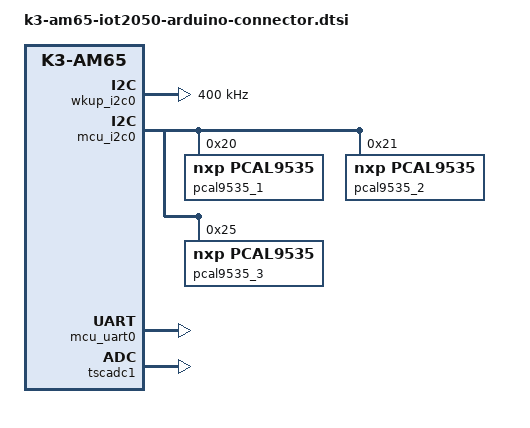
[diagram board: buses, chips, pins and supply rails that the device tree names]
// SPDX-License-Identifier: GPL-2.0-only
/*
 * Copyright (c) Siemens AG, 2018-2023
 *
 * Authors:
 *   Le Jin <le.jin@siemens.com>
 *   Jan Kiszka <jan.kiszka@siemens.com>
 *
 * Common bits for IOT2050 variants with Arduino connector
 */

&wkup_pmx0 {
	pinctrl-names =
		"default",
		"d0-uart0-rxd",  "d0-gpio",  "d0-gpio-pullup",  "d0-gpio-pulldown",
		"d1-uart0-txd",  "d1-gpio",  "d1-gpio-pullup",  "d1-gpio-pulldown",
		"d2-uart0-ctsn", "d2-gpio",  "d2-gpio-pullup",  "d2-gpio-pulldown",
		"d3-uart0-rtsn", "d3-gpio",  "d3-gpio-pullup",  "d3-gpio-pulldown",
		"d10-spi0-cs0",  "d10-gpio", "d10-gpio-pullup", "d10-gpio-pulldown",
		"d11-spi0-d0",   "d11-gpio", "d11-gpio-pullup", "d11-gpio-pulldown",
		"d12-spi0-d1",   "d12-gpio", "d12-gpio-pullup", "d12-gpio-pulldown",
		"d13-spi0-clk",  "d13-gpio", "d13-gpio-pullup", "d13-gpio-pulldown",
		"a0-gpio", "a0-gpio-pullup", "a0-gpio-pulldown",
		"a1-gpio", "a1-gpio-pullup", "a1-gpio-pulldown",
		"a2-gpio", "a2-gpio-pullup", "a2-gpio-pulldown",
		"a3-gpio", "a3-gpio-pullup", "a3-gpio-pulldown",
		"a4-gpio", "a4-gpio-pullup", "a4-gpio-pulldown",
		"a5-gpio", "a5-gpio-pullup", "a5-gpio-pulldown";

	pinctrl-0 = <&d0_uart0_rxd>;
	pinctrl-1 = <&d0_uart0_rxd>;
	pinctrl-2 = <&d0_gpio>;
	pinctrl-3 = <&d0_gpio_pullup>;
	pinctrl-4 = <&d0_gpio_pulldown>;
	pinctrl-5 = <&d1_uart0_txd>;
	pinctrl-6 = <&d1_gpio>;
	pinctrl-7 = <&d1_gpio_pullup>;
	pinctrl-8 = <&d1_gpio_pulldown>;
	pinctrl-9 = <&d2_uart0_ctsn>;
	pinctrl-10 = <&d2_gpio>;
	pinctrl-11 = <&d2_gpio_pullup>;
	pinctrl-12 = <&d2_gpio_pulldown>;
	pinctrl-13 = <&d3_uart0_rtsn>;
	pinctrl-14 = <&d3_gpio>;
	pinctrl-15 = <&d3_gpio_pullup>;
	pinctrl-16 = <&d3_gpio_pulldown>;
	pinctrl-17 = <&d10_spi0_cs0>;
	pinctrl-18 = <&d10_gpio>;
	pinctrl-19 = <&d10_gpio_pullup>;
	pinctrl-20 = <&d10_gpio_pulldown>;
	pinctrl-21 = <&d11_spi0_d0>;
	pinctrl-22 = <&d11_gpio>;
	pinctrl-23 = <&d11_gpio_pullup>;
	pinctrl-24 = <&d11_gpio_pulldown>;
	pinctrl-25 = <&d12_spi0_d1>;
	pinctrl-26 = <&d12_gpio>;
	pinctrl-27 = <&d12_gpio_pullup>;
	pinctrl-28 = <&d12_gpio_pulldown>;
	pinctrl-29 = <&d13_spi0_clk>;
	pinctrl-30 = <&d13_gpio>;
	pinctrl-31 = <&d13_gpio_pullup>;
	pinctrl-32 = <&d13_gpio_pulldown>;
	pinctrl-33 = <&a0_gpio>;
	pinctrl-34 = <&a0_gpio_pullup>;
	pinctrl-35 = <&a0_gpio_pulldown>;
	pinctrl-36 = <&a1_gpio>;
	pinctrl-37 = <&a1_gpio_pullup>;
	pinctrl-38 = <&a1_gpio_pulldown>;
	pinctrl-39 = <&a2_gpio>;
	pinctrl-40 = <&a2_gpio_pullup>;
	pinctrl-41 = <&a2_gpio_pulldown>;
	pinctrl-42 = <&a3_gpio>;
	pinctrl-43 = <&a3_gpio_pullup>;
	pinctrl-44 = <&a3_gpio_pulldown>;
	pinctrl-45 = <&a4_gpio>;
	pinctrl-46 = <&a4_gpio_pullup>;
	pinctrl-47 = <&a4_gpio_pulldown>;
	pinctrl-48 = <&a5_gpio>;
	pinctrl-49 = <&a5_gpio_pullup>;
	pinctrl-50 = <&a5_gpio_pulldown>;

	d0_uart0_rxd: d0-uart0-rxd-pins {
		pinctrl-single,pins = <
			/* (P4) MCU_UART0_RXD */
			AM65X_WKUP_IOPAD(0x0044, PIN_INPUT, 4)
		>;
	};

	d0_gpio: d0-gpio-pins {
		pinctrl-single,pins = <
			/* (P4) WKUP_GPIO0_29 */
			AM65X_WKUP_IOPAD(0x0044, PIN_INPUT, 7)
		>;
	};

	d0_gpio_pullup: d0-gpio-pullup-pins {
		pinctrl-single,pins = <
			/* (P4) WKUP_GPIO0_29 */
			AM65X_WKUP_IOPAD(0x0044, PIN_INPUT_PULLUP, 7)
		>;
	};

	d0_gpio_pulldown: d0-gpio-pulldown-pins {
		pinctrl-single,pins = <
			/* (P4) WKUP_GPIO0_29 */
			AM65X_WKUP_IOPAD(0x0044, PIN_INPUT_PULLDOWN, 7)
		>;
	};

	d1_uart0_txd: d1-uart0-txd-pins {
		pinctrl-single,pins = <
			/* (P5) MCU_UART0_TXD */
			AM65X_WKUP_IOPAD(0x0048, PIN_OUTPUT, 4)
		>;
	};

	d1_gpio: d1-gpio-pins {
		pinctrl-single,pins = <
			/* (P5) WKUP_GPIO0_30 */
			AM65X_WKUP_IOPAD(0x0048, PIN_INPUT, 7)
		>;
	};

	d1_gpio_pullup: d1-gpio-pullup-pins {
		pinctrl-single,pins = <
			/* (P5) WKUP_GPIO0_30 */
			AM65X_WKUP_IOPAD(0x0048, PIN_INPUT, 7)
		>;
	};

	d1_gpio_pulldown: d1-gpio-pulldown-pins {
		pinctrl-single,pins = <
			/* (P5) WKUP_GPIO0_30 */
			AM65X_WKUP_IOPAD(0x0048, PIN_INPUT_PULLDOWN, 7)
		>;
	};

	d2_uart0_ctsn: d2-uart0-ctsn-pins {
		pinctrl-single,pins = <
			/* (P1) MCU_UART0_CTSn */
			AM65X_WKUP_IOPAD(0x004C, PIN_INPUT, 4)
		>;
	};

	d2_gpio: d2-gpio-pins {
		pinctrl-single,pins = <
			/* (P5) WKUP_GPIO0_31 */
			AM65X_WKUP_IOPAD(0x004C, PIN_INPUT, 7)
		>;
	};

	d2_gpio_pullup: d2-gpio-pullup-pins {
		pinctrl-single,pins = <
			/* (P5) WKUP_GPIO0_31 */
			AM65X_WKUP_IOPAD(0x004C, PIN_INPUT, 7)
		>;
	};

	d2_gpio_pulldown: d2-gpio-pulldown-pins {
		pinctrl-single,pins = <
			/* (P5) WKUP_GPIO0_31 */
			AM65X_WKUP_IOPAD(0x004C, PIN_INPUT_PULLDOWN, 7)
		>;
	};

	d3_uart0_rtsn: d3-uart0-rtsn-pins {
		pinctrl-single,pins = <
			/* (N3) MCU_UART0_RTSn */
			AM65X_WKUP_IOPAD(0x0054, PIN_OUTPUT, 4)
		>;
	};

	d3_gpio: d3-gpio-pins {
		pinctrl-single,pins = <
			/* (N3) WKUP_GPIO0_33 */
			AM65X_WKUP_IOPAD(0x0054, PIN_INPUT, 7)
		>;
	};

	d3_gpio_pullup: d3-gpio-pullup-pins {
		pinctrl-single,pins = <
			/* (N3) WKUP_GPIO0_33 */
			AM65X_WKUP_IOPAD(0x0054, PIN_INPUT, 7)
		>;
	};

	d3_gpio_pulldown: d3-gpio-pulldown-pins {
		pinctrl-single,pins = <
			/* (N3) WKUP_GPIO0_33 */
			AM65X_WKUP_IOPAD(0x0054, PIN_INPUT_PULLDOWN, 7)
		>;
	};

	d10_spi0_cs0: d10-spi0-cs0-pins {
		pinctrl-single,pins = <
			/* (Y4) MCU_SPI0_CS0 */
			AM65X_WKUP_IOPAD(0x009c, PIN_OUTPUT, 0)
		>;
	};

	d10_gpio: d10-gpio-pins {
		pinctrl-single,pins = <
			/* (Y4) WKUP_GPIO0_51 */
			AM65X_WKUP_IOPAD(0x009c, PIN_INPUT, 7)
		>;
	};

	d10_gpio_pullup: d10-gpio-pullup-pins {
		pinctrl-single,pins = <
			/* (Y4) WKUP_GPIO0_51 */
			AM65X_WKUP_IOPAD(0x009c, PIN_INPUT, 7)
		>;
	};

	d10_gpio_pulldown: d10-gpio-pulldown-pins {
		pinctrl-single,pins = <
			/* (Y4) WKUP_GPIO0_51 */
			AM65X_WKUP_IOPAD(0x009c, PIN_INPUT_PULLDOWN, 7)
		>;
	};

	d11_spi0_d0: d11-spi0-d0-pins {
		pinctrl-single,pins = <
			/* (Y3) MCU_SPI0_D0 */
			AM65X_WKUP_IOPAD(0x0094, PIN_INPUT, 0)
		>;
	};

	d11_gpio: d11-gpio-pins {
		pinctrl-single,pins = <
			/* (Y3) WKUP_GPIO0_49 */
			AM65X_WKUP_IOPAD(0x0094, PIN_INPUT, 7)
		>;
	};

	d11_gpio_pullup: d11-gpio-pullup-pins {
		pinctrl-single,pins = <
			/* (Y3) WKUP_GPIO0_49 */
			AM65X_WKUP_IOPAD(0x0094, PIN_INPUT, 7)
		>;
	};

	d11_gpio_pulldown: d11-gpio-pulldown-pins {
		pinctrl-single,pins = <
			/* (Y3) WKUP_GPIO0_49 */
			AM65X_WKUP_IOPAD(0x0094, PIN_INPUT_PULLDOWN, 7)
		>;
	};

	d12_spi0_d1: d12-spi0-d1-pins {
		pinctrl-single,pins = <
			/* (Y2) MCU_SPI0_D1 */
			AM65X_WKUP_IOPAD(0x0098, PIN_INPUT, 0)
		>;
	};

	d12_gpio: d12-gpio-pins {
		pinctrl-single,pins = <
			/* (Y2) WKUP_GPIO0_50 */
			AM65X_WKUP_IOPAD(0x0098, PIN_INPUT, 7)
		>;
	};

	d12_gpio_pullup: d12-gpio-pullup-pins {
		pinctrl-single,pins = <
			/* (Y2) WKUP_GPIO0_50 */
			AM65X_WKUP_IOPAD(0x0098, PIN_INPUT, 7)
		>;
	};

	d12_gpio_pulldown: d12-gpio-pulldown-pins {
		pinctrl-single,pins = <
			/* (Y2) WKUP_GPIO0_50 */
			AM65X_WKUP_IOPAD(0x0098, PIN_INPUT_PULLDOWN, 7)
		>;
	};

	d13_spi0_clk: d13-spi0-clk-pins {
		pinctrl-single,pins = <
			/* (Y1) MCU_SPI0_CLK */
			AM65X_WKUP_IOPAD(0x0090, PIN_INPUT, 0)
		>;
	};

	d13_gpio: d13-gpio-pins {
		pinctrl-single,pins = <
			/* (Y1) WKUP_GPIO0_48 */
			AM65X_WKUP_IOPAD(0x0090, PIN_INPUT, 7)
		>;
	};

	d13_gpio_pullup: d13-gpio-pullup-pins {
		pinctrl-single,pins = <
			/* (Y1) WKUP_GPIO0_48 */
			AM65X_WKUP_IOPAD(0x0090, PIN_INPUT, 7)
		>;
	};

	d13_gpio_pulldown: d13-gpio-pulldown-pins {
		pinctrl-single,pins = <
			/* (Y1) WKUP_GPIO0_48 */
			AM65X_WKUP_IOPAD(0x0090, PIN_INPUT_PULLDOWN, 7)
		>;
	};

	a0_gpio: a0-gpio-pins {
		pinctrl-single,pins = <
			/* (L6) WKUP_GPIO0_45 */
			AM65X_WKUP_IOPAD(0x0084, PIN_INPUT, 7)
		>;
	};

	a0_gpio_pullup: a0-gpio-pullup-pins {
		pinctrl-single,pins = <
			/* (L6) WKUP_GPIO0_45 */
			AM65X_WKUP_IOPAD(0x0084, PIN_INPUT, 7)
		>;
	};

	a0_gpio_pulldown: a0-gpio-pulldown-pins {
		pinctrl-single,pins = <
			/* (L6) WKUP_GPIO0_45 */
			AM65X_WKUP_IOPAD(0x0084, PIN_INPUT_PULLDOWN, 7)
		>;
	};

	a1_gpio: a1-gpio-pins {
		pinctrl-single,pins = <
			/* (M6) WKUP_GPIO0_44 */
			AM65X_WKUP_IOPAD(0x0080, PIN_INPUT, 7)
		>;
	};

	a1_gpio_pullup: a1-gpio-pullup-pins {
		pinctrl-single,pins = <
			/* (M6) WKUP_GPIO0_44 */
			AM65X_WKUP_IOPAD(0x0080, PIN_INPUT, 7)
		>;
	};

	a1_gpio_pulldown: a1-gpio-pulldown-pins {
		pinctrl-single,pins = <
			/* (M6) WKUP_GPIO0_44 */
			AM65X_WKUP_IOPAD(0x0080, PIN_INPUT_PULLDOWN, 7)
		>;
	};

	a2_gpio: a2-gpio-pins {
		pinctrl-single,pins = <
			/* (L5) WKUP_GPIO0_43 */
			AM65X_WKUP_IOPAD(0x007C, PIN_INPUT, 7)
		>;
	};

	a2_gpio_pullup: a2-gpio-pullup-pins {
		pinctrl-single,pins = <
			/* (L5) WKUP_GPIO0_43 */
			AM65X_WKUP_IOPAD(0x007C, PIN_INPUT, 7)
		>;
	};

	a2_gpio_pulldown: a2-gpio-pulldown-pins {
		pinctrl-single,pins = <
			/* (L5) WKUP_GPIO0_43 */
			AM65X_WKUP_IOPAD(0x007C, PIN_INPUT_PULLDOWN, 7)
		>;
	};

	a3_gpio: a3-gpio-pins {
		pinctrl-single,pins = <
			/* (M5) WKUP_GPIO0_39 */
			AM65X_WKUP_IOPAD(0x006C, PIN_INPUT, 7)
		>;
	};

	a3_gpio_pullup: a3-gpio-pullup-pins {
		pinctrl-single,pins = <
			/* (M5) WKUP_GPIO0_39 */
			AM65X_WKUP_IOPAD(0x006C, PIN_INPUT, 7)
		>;
	};

	a3_gpio_pulldown: a3-gpio-pulldown-pins {
		pinctrl-single,pins = <
			/* (M5) WKUP_GPIO0_39 */
			AM65X_WKUP_IOPAD(0x006C, PIN_INPUT_PULLDOWN, 7)
		>;
	};

	a4_gpio: a4-gpio-pins {
		pinctrl-single,pins = <
			/* (L2) WKUP_GPIO0_42 */
			AM65X_WKUP_IOPAD(0x0078, PIN_INPUT, 7)
		>;
	};

	a4_gpio_pullup: a4-gpio-pullup-pins {
		pinctrl-single,pins = <
			/* (L2) WKUP_GPIO0_42 */
			AM65X_WKUP_IOPAD(0x0078, PIN_INPUT, 7)
		>;
	};

	a4_gpio_pulldown: a4-gpio-pulldown-pins {
		pinctrl-single,pins = <
			/* (L2) WKUP_GPIO0_42 */
			AM65X_WKUP_IOPAD(0x0078, PIN_INPUT_PULLDOWN, 7)
		>;
	};

	a5_gpio: a5-gpio-pins {
		pinctrl-single,pins = <
			/* (N5) WKUP_GPIO0_35 */
			AM65X_WKUP_IOPAD(0x005C, PIN_INPUT, 7)
		>;
	};

	a5_gpio_pullup: a5-gpio-pullup-pins {
		pinctrl-single,pins = <
			/* (N5) WKUP_GPIO0_35 */
			AM65X_WKUP_IOPAD(0x005C, PIN_INPUT_PULLUP, 7)
		>;
	};

	a5_gpio_pulldown: a5-gpio-pulldown-pins {
		pinctrl-single,pins = <
			/* (N5) WKUP_GPIO0_35 */
			AM65X_WKUP_IOPAD(0x005C, PIN_INPUT_PULLDOWN, 7)
		>;
	};

	wkup_i2c0_pins_default: wkup-i2c0-default-pins {
		pinctrl-single,pins = <
			/* (AC7) WKUP_I2C0_SCL */
			AM65X_WKUP_IOPAD(0x00e0, PIN_INPUT,  0)
			/* (AD6) WKUP_I2C0_SDA */
			AM65X_WKUP_IOPAD(0x00e4, PIN_INPUT,  0)
		>;
	};

	arduino_i2c_aio_switch_pins_default: arduino-i2c-aio-switch-default-pins {
		pinctrl-single,pins = <
			/* (R2) WKUP_GPIO0_21 */
			AM65X_WKUP_IOPAD(0x0024, PIN_OUTPUT, 7)
		>;
	};

	arduino_io_oe_pins_default: arduino-io-oe-default-pins {
		pinctrl-single,pins = <
			/* (N4) WKUP_GPIO0_34 */
			AM65X_WKUP_IOPAD(0x0058, PIN_OUTPUT, 7)
			/* (M2) WKUP_GPIO0_36 */
			AM65X_WKUP_IOPAD(0x0060, PIN_OUTPUT, 7)
			/* (M3) WKUP_GPIO0_37 */
			AM65X_WKUP_IOPAD(0x0064, PIN_OUTPUT, 7)
			/* (M4) WKUP_GPIO0_38 */
			AM65X_WKUP_IOPAD(0x0068, PIN_OUTPUT, 7)
			/* (M1) WKUP_GPIO0_41 */
			AM65X_WKUP_IOPAD(0x0074, PIN_OUTPUT, 7)
		>;
	};
};

&main_pmx0 {
	pinctrl-names =
		"default",
		"d4-ehrpwm0-a", "d4-gpio", "d4-gpio-pullup", "d4-gpio-pulldown",
		"d5-ehrpwm1-a", "d5-gpio", "d5-gpio-pullup", "d5-gpio-pulldown",
		"d6-ehrpwm2-a", "d6-gpio", "d6-gpio-pullup", "d6-gpio-pulldown",
		"d7-ehrpwm3-a", "d7-gpio", "d7-gpio-pullup", "d7-gpio-pulldown",
		"d8-ehrpwm4-a", "d8-gpio", "d8-gpio-pullup", "d8-gpio-pulldown",
		"d9-ehrpwm5-a", "d9-gpio", "d9-gpio-pullup", "d9-gpio-pulldown";

	pinctrl-0 = <&d4_ehrpwm0_a>;
	pinctrl-1 = <&d4_ehrpwm0_a>;
	pinctrl-2 = <&d4_gpio>;
	pinctrl-3 = <&d4_gpio_pullup>;
	pinctrl-4 = <&d4_gpio_pulldown>;

	pinctrl-5 = <&d5_ehrpwm1_a>;
	pinctrl-6 = <&d5_gpio>;
	pinctrl-7 = <&d5_gpio_pullup>;
	pinctrl-8 = <&d5_gpio_pulldown>;

	pinctrl-9 = <&d6_ehrpwm2_a>;
	pinctrl-10 = <&d6_gpio>;
	pinctrl-11 = <&d6_gpio_pullup>;
	pinctrl-12 = <&d6_gpio_pulldown>;

	pinctrl-13 = <&d7_ehrpwm3_a>;
	pinctrl-14 = <&d7_gpio>;
	pinctrl-15 = <&d7_gpio_pullup>;
	pinctrl-16 = <&d7_gpio_pulldown>;

	pinctrl-17 = <&d8_ehrpwm4_a>;
	pinctrl-18 = <&d8_gpio>;
	pinctrl-19 = <&d8_gpio_pullup>;
	pinctrl-20 = <&d8_gpio_pulldown>;

	pinctrl-21 = <&d9_ehrpwm5_a>;
	pinctrl-22 = <&d9_gpio>;
	pinctrl-23 = <&d9_gpio_pullup>;
	pinctrl-24 = <&d9_gpio_pulldown>;

	d4_ehrpwm0_a: d4-ehrpwm0-a-pins {
		pinctrl-single,pins = <
			/* (AG18) EHRPWM0_A */
			AM65X_IOPAD(0x0084, PIN_OUTPUT, 5)
		>;
	};

	d4_gpio: d4-gpio-pins {
		pinctrl-single,pins = <
			/* (AG18) GPIO0_33 */
			AM65X_IOPAD(0x0084, PIN_INPUT, 7)
		>;
	};

	d4_gpio_pullup: d4-gpio-pullup-pins {
		pinctrl-single,pins = <
			/* (AG18) GPIO0_33 */
			AM65X_IOPAD(0x0084, PIN_INPUT_PULLUP, 7)
		>;
	};

	d4_gpio_pulldown: d4-gpio-pulldown-pins {
		pinctrl-single,pins = <
			/* (AG18) GPIO0_33 */
			AM65X_IOPAD(0x0084, PIN_INPUT_PULLDOWN, 7)
		>;
	};

	d5_ehrpwm1_a: d5-ehrpwm1-a-pins {
		pinctrl-single,pins = <
			/* (AF17) EHRPWM1_A */
			AM65X_IOPAD(0x008C, PIN_OUTPUT, 5)
		>;
	};

	d5_gpio: d5-gpio-pins {
		pinctrl-single,pins = <
			/* (AF17) GPIO0_35 */
			AM65X_IOPAD(0x008C, PIN_INPUT, 7)
		>;
	};

	d5_gpio_pullup: d5-gpio-pullup-pins {
		pinctrl-single,pins = <
			/* (AF17) GPIO0_35 */
			AM65X_IOPAD(0x008C, PIN_INPUT_PULLUP, 7)
		>;
	};

	d5_gpio_pulldown: d5-gpio-pulldown-pins {
		pinctrl-single,pins = <
			/* (AF17) GPIO0_35 */
			AM65X_IOPAD(0x008C, PIN_INPUT_PULLDOWN, 7)
		>;
	};

	d6_ehrpwm2_a: d6-ehrpwm2-a-pins {
		pinctrl-single,pins = <
			/* (AH16) EHRPWM2_A */
			AM65X_IOPAD(0x0098, PIN_OUTPUT, 5)
		>;
	};

	d6_gpio: d6-gpio-pins {
		pinctrl-single,pins = <
			/* (AH16) GPIO0_38 */
			AM65X_IOPAD(0x0098, PIN_INPUT, 7)
		>;
	};

	d6_gpio_pullup: d6-gpio-pullup-pins {
		pinctrl-single,pins = <
			/* (AH16) GPIO0_38 */
			AM65X_IOPAD(0x0098, PIN_INPUT_PULLUP, 7)
		>;
	};

	d6_gpio_pulldown: d6-gpio-pulldown-pins {
		pinctrl-single,pins = <
			/* (AH16) GPIO0_38 */
			AM65X_IOPAD(0x0098, PIN_INPUT_PULLDOWN, 7)
		>;
	};

	d7_ehrpwm3_a: d7-ehrpwm3-a-pins {
		pinctrl-single,pins = <
			/* (AH15) EHRPWM3_A */
			AM65X_IOPAD(0x00AC, PIN_OUTPUT, 5)
		>;
	};

	d7_gpio: d7-gpio-pins {
		pinctrl-single,pins = <
			/* (AH15) GPIO0_43 */
			AM65X_IOPAD(0x00AC, PIN_INPUT, 7)
		>;
	};

	d7_gpio_pullup: d7-gpio-pullup-pins {
		pinctrl-single,pins = <
			/* (AH15) GPIO0_43 */
			AM65X_IOPAD(0x00AC, PIN_INPUT_PULLUP, 7)
		>;
	};

	d7_gpio_pulldown: d7-gpio-pulldown-pins {
		pinctrl-single,pins = <
			/* (AH15) GPIO0_43 */
			AM65X_IOPAD(0x00AC, PIN_INPUT_PULLDOWN, 7)
		>;
	};

	d8_ehrpwm4_a: d8-ehrpwm4-a-pins {
		pinctrl-single,pins = <
			/* (AG15) EHRPWM4_A */
			AM65X_IOPAD(0x00C0, PIN_OUTPUT, 5)
		>;
	};

	d8_gpio: d8-gpio-pins {
		pinctrl-single,pins = <
			/* (AG15) GPIO0_48 */
			AM65X_IOPAD(0x00C0, PIN_INPUT, 7)
		>;
	};

	d8_gpio_pullup: d8-gpio-pullup-pins {
		pinctrl-single,pins = <
			/* (AG15) GPIO0_48 */
			AM65X_IOPAD(0x00C0, PIN_INPUT_PULLUP, 7)
		>;
	};

	d8_gpio_pulldown: d8-gpio-pulldown-pins {
		pinctrl-single,pins = <
			/* (AG15) GPIO0_48 */
			AM65X_IOPAD(0x00C0, PIN_INPUT_PULLDOWN, 7)
		>;
	};

	d9_ehrpwm5_a: d9-ehrpwm5-a-pins {
		pinctrl-single,pins = <
			/* (AD15) EHRPWM5_A */
			AM65X_IOPAD(0x00CC, PIN_OUTPUT, 5)
		>;
	};

	d9_gpio: d9-gpio-pins {
		pinctrl-single,pins = <
			/* (AD15) GPIO0_51 */
			AM65X_IOPAD(0x00CC, PIN_INPUT, 7)
		>;
	};

	d9_gpio_pullup: d9-gpio-pullup-pins {
		pinctrl-single,pins = <
			/* (AD15) GPIO0_51 */
			AM65X_IOPAD(0x00CC, PIN_INPUT_PULLUP, 7)
		>;
	};

	d9_gpio_pulldown: d9-gpio-pulldown-pins {
		pinctrl-single,pins = <
			/* (AD15) GPIO0_51 */
			AM65X_IOPAD(0x00CC, PIN_INPUT_PULLDOWN, 7)
		>;
	};
};

&main_gpio0 {
	gpio-line-names =
		"main_gpio0-base", "", "", "", "", "", "", "", "", "",
		"", "", "", "", "", "", "", "", "", "",
		"", "", "", "", "", "", "", "", "", "",
		"", "", "", "IO4", "", "IO5", "", "", "IO6", "",
		"", "", "", "IO7", "", "", "", "", "IO8", "",
		"", "IO9";
};

&wkup_gpio0 {
	pinctrl-names = "default";
	pinctrl-0 =
		<&arduino_i2c_aio_switch_pins_default>,
		<&arduino_io_oe_pins_default>,
		<&push_button_pins_default>,
		<&db9_com_mode_pins_default>;
	gpio-line-names =
		/* 0..9 */
		"wkup_gpio0-base", "", "", "", "UART0-mode1", "UART0-mode0",
		"UART0-enable", "UART0-terminate", "", "WIFI-disable",
		/* 10..19 */
		"", "", "", "", "", "", "", "", "", "",
		/* 20..29 */
		"", "A4A5-I2C-mux", "", "", "", "USER-button", "", "", "","IO0",
		/* 30..39 */
		"IO1", "IO2", "", "IO3", "IO17-direction", "A5",
		"IO16-direction", "IO15-direction", "IO14-direction", "A3",
		/* 40..49 */
		"", "IO18-direction", "A4", "A2", "A1", "A0", "", "", "IO13",
		"IO11",
		/* 50..51 */
		"IO12", "IO10";
};

&wkup_i2c0 {
	status = "okay";
	pinctrl-names = "default";
	pinctrl-0 = <&wkup_i2c0_pins_default>;
	clock-frequency = <400000>;
};

&mcu_i2c0 {
	/* D4200 */
	pcal9535_1: gpio@20 {
		compatible = "nxp,pcal9535";
		reg = <0x20>;
		#gpio-cells = <2>;
		gpio-controller;
		gpio-line-names =
			"A0-pull", "A1-pull", "A2-pull", "A3-pull", "A4-pull",
			"A5-pull", "", "",
			"IO14-enable", "IO15-enable", "IO16-enable",
			"IO17-enable", "IO18-enable", "IO19-enable";
	};

	/* D4201 */
	pcal9535_2: gpio@21 {
		compatible = "nxp,pcal9535";
		reg = <0x21>;
		#gpio-cells = <2>;
		gpio-controller;
		gpio-line-names =
			"IO0-direction", "IO1-direction", "IO2-direction",
			"IO3-direction", "IO4-direction", "IO5-direction",
			"IO6-direction", "IO7-direction",
			"IO8-direction", "IO9-direction", "IO10-direction",
			"IO11-direction", "IO12-direction", "IO13-direction",
			"IO19-direction";
	};

	/* D4202 */
	pcal9535_3: gpio@25 {
		compatible = "nxp,pcal9535";
		reg = <0x25>;
		#gpio-cells = <2>;
		gpio-controller;
		gpio-line-names =
			"IO0-pull", "IO1-pull", "IO2-pull", "IO3-pull",
			"IO4-pull", "IO5-pull", "IO6-pull", "IO7-pull",
			"IO8-pull", "IO9-pull", "IO10-pull", "IO11-pull",
			"IO12-pull", "IO13-pull";
	};
};

&mcu_uart0 {
	status = "okay";
};

&tscadc1 {
	status = "okay";
	adc {
		ti,adc-channels = <0 1 2 3 4 5>;
	};
};
